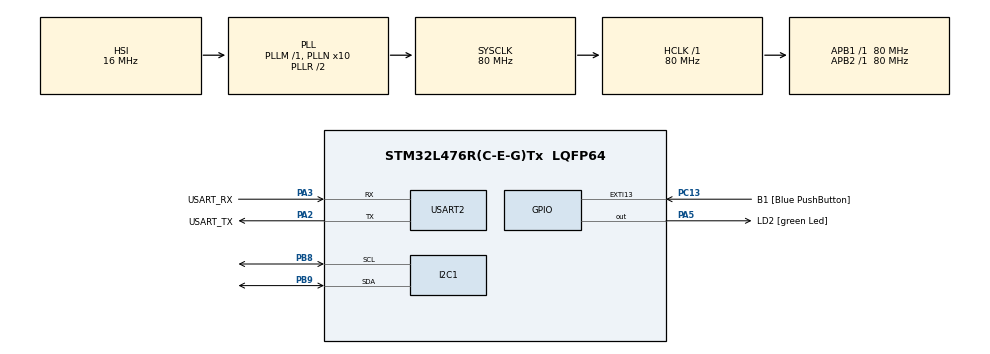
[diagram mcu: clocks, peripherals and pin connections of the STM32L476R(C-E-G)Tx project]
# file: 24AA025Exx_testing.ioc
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Mcu.Family=STM32L4
Mcu.Name=STM32L476R(C-E-G)Tx
Mcu.Package=LQFP64
NVIC.PriorityGroup=NVIC_PRIORITYGROUP_4
PA13\ (JTMS-SWDIO).GPIO_Label=TMS
PA13\ (JTMS-SWDIO).Mode=Serial_Wire
PA13\ (JTMS-SWDIO).Signal=SYS_JTMS-SWDIO
PA14\ (JTCK-SWCLK).GPIO_Label=TCK
PA14\ (JTCK-SWCLK).Mode=Serial_Wire
PA14\ (JTCK-SWCLK).Signal=SYS_JTCK-SWCLK
PA2.GPIO_Label=USART_TX
PA2.GPIO_Mode=GPIO_MODE_AF_PP
PA2.GPIO_PuPd=GPIO_NOPULL
PA2.GPIO_Speed=GPIO_SPEED_FREQ_VERY_HIGH
PA2.Mode=Asynchronous
PA2.Signal=USART2_TX
PA3.GPIO_Label=USART_RX
PA3.GPIO_Mode=GPIO_MODE_AF_PP
PA3.GPIO_PuPd=GPIO_NOPULL
PA3.GPIO_Speed=GPIO_SPEED_FREQ_VERY_HIGH
PA3.Mode=Asynchronous
PA3.Signal=USART2_RX
PA5.GPIO_Label=LD2 [green Led]
PA5.GPIO_ModeDefaultOutputPP=GPIO_MODE_OUTPUT_PP
PA5.GPIO_PuPd=GPIO_NOPULL
PA5.GPIO_Speed=GPIO_SPEED_FREQ_LOW
PA5.Signal=GPIO_Output
PB3\ (JTDO-TRACESWO).GPIO_Label=SWO
PB3\ (JTDO-TRACESWO).Signal=SYS_JTDO-SWO
PB8.Mode=I2C
PB8.Signal=I2C1_SCL
PB9.Mode=I2C
PB9.Signal=I2C1_SDA
PC13.GPIO_Label=B1 [Blue PushButton]
PC13.GPIO_ModeDefaultEXTI=GPIO_MODE_IT_FALLING
PC13.GPIO_PuPd=GPIO_NOPULL
PC13.Signal=GPXTI13
PC14-OSC32_IN\ (PC14).Mode=LSE-External-Oscillator
PC14-OSC32_IN\ (PC14).Signal=RCC_OSC32_IN
PC15-OSC32_OUT\ (PC15).Mode=LSE-External-Oscillator
PC15-OSC32_OUT\ (PC15).Signal=RCC_OSC32_OUT
PH0-OSC_IN\ (PH0).Signal=RCC_OSC_IN
PH1-OSC_OUT\ (PH1).Signal=RCC_OSC_OUT
ProjectManager.HeapSize=0x200
ProjectManager.StackSize=0x400
ProjectManager.TargetToolchain=SW4STM32
RCC.ADCFreq_Value=64000000
RCC.AHBFreq_Value=80000000
RCC.APB1Freq_Value=80000000
RCC.APB1TimFreq_Value=80000000
RCC.APB2Freq_Value=80000000
RCC.APB2TimFreq_Value=80000000
RCC.CortexFreq_Value=80000000
RCC.HCLKFreq_Value=80000000
RCC.HSE_VALUE=8000000
RCC.HSI_VALUE=16000000
RCC.MSI_VALUE=4000000
RCC.PLLN=10
RCC.PLLSourceVirtual=RCC_PLLSOURCE_HSI
RCC.PREFETCH_ENABLE=1
RCC.SYSCLKFreq_VALUE=80000000
RCC.SYSCLKSource=RCC_SYSCLKSOURCE_PLLCLK
RCC.USBFreq_Value=64000000
RCC.VCOOutputFreq_Value=160000000
USART2.VirtualMode-Asynchronous=VM_ASYNC
board=NUCLEO-L476RG

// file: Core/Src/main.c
/**
  ******************************************************************************
  * @file           : main.c
  * @brief          : Main program body
  ******************************************************************************
  ** This notice applies to any and all portions of this file
  * that are not between comment pairs USER CODE BEGIN and
  * USER CODE END. Other portions of this file, whether
  * inserted by the user or by software development tools
  * are owned by their respective copyright owners.
  *
  * COPYRIGHT(c) 2018 STMicroelectronics
  *
  * Redistribution and use in source and binary forms, with or without modification,
  * are permitted provided that the following conditions are met:
  *   1. Redistributions of source code must retain the above copyright notice,
  *      this list of conditions and the following disclaimer.
  *   2. Redistributions in binary form must reproduce the above copyright notice,
  *      this list of conditions and the following disclaimer in the documentation
  *      and/or other materials provided with the distribution.
  *   3. Neither the name of STMicroelectronics nor the names of its contributors
  *      may be used to endorse or promote products derived from this software
  *      without specific prior written permission.
  *
  * THIS SOFTWARE IS PROVIDED BY THE COPYRIGHT HOLDERS AND CONTRIBUTORS "AS IS"
  * AND ANY EXPRESS OR IMPLIED WARRANTIES, INCLUDING, BUT NOT LIMITED TO, THE
  * IMPLIED WARRANTIES OF MERCHANTABILITY AND FITNESS FOR A PARTICULAR PURPOSE ARE
  * DISCLAIMED. IN NO EVENT SHALL THE COPYRIGHT HOLDER OR CONTRIBUTORS BE LIABLE
  * FOR ANY DIRECT, INDIRECT, INCIDENTAL, SPECIAL, EXEMPLARY, OR CONSEQUENTIAL
  * DAMAGES (INCLUDING, BUT NOT LIMITED TO, PROCUREMENT OF SUBSTITUTE GOODS OR
  * SERVICES; LOSS OF USE, DATA, OR PROFITS; OR BUSINESS INTERRUPTION) HOWEVER
  * CAUSED AND ON ANY THEORY OF LIABILITY, WHETHER IN CONTRACT, STRICT LIABILITY,
  * OR TORT (INCLUDING NEGLIGENCE OR OTHERWISE) ARISING IN ANY WAY OUT OF THE USE
  * OF THIS SOFTWARE, EVEN IF ADVISED OF THE POSSIBILITY OF SUCH DAMAGE.
  *
  ******************************************************************************
  */
#include "main.h"
#include "stm32l4xx_hal.h"
#include "i2c.h"
#include "usart.h"
#include "gpio.h"

/* USER CODE BEGIN Includes */
#include "MAC_24AA02Exx_HAL.h"

/* USER CODE END Includes */

/* USER CODE BEGIN PV */
/* Private variables ---------------------------------------------------------*/

/* USER CODE END PV */

void SystemClock_Config(void);

/* USER CODE BEGIN PFP */
/* Private function prototypes -----------------------------------------------*/

/* USER CODE END PFP */

int main(void)
{

  /* MCU Configuration----------------------------------------------------------*/

  /* Reset of all peripherals, Initializes the Flash interface and the Systick. */
  HAL_Init();

  /* Configure the system clock */
  SystemClock_Config();

  /* Initialize all configured peripherals */
  MX_GPIO_Init();
  MX_USART2_UART_Init();
  MX_I2C1_Init();
  /* USER CODE BEGIN 2 */
  HAL_Delay(10);

  uint8_t MAC_addr[8] = {'\0'};
  bool isEUI48;
  if(get_MAC_address(&hi2c1, &isEUI48, MAC_addr)) {
	  if(isEUI48) {
		  // EUI-48
		  printf("EUI-48,");
		  for(int i = 0; i < (6-1); i++)
			  printf("%02X-", MAC_addr[i]);
		  printf("%02X\r\n", MAC_addr[6-1]);
	  } else {
		  // EUI-64
		  printf("EUI-64,");
		  for(int i = 0; i < (8-1); i++)
			  printf("%02X-", MAC_addr[i]);
		  printf("%02X\r\n", MAC_addr[8-1]);
	  }
  }
  else {
	  printf("get_MAC_address false\r\n");
  }

  /* USER CODE END 2 */

  /* Infinite loop */
  while (1)
  {

  }

}

void SystemClock_Config(void)
{

  RCC_OscInitTypeDef RCC_OscInitStruct;
  RCC_ClkInitTypeDef RCC_ClkInitStruct;
  RCC_PeriphCLKInitTypeDef PeriphClkInit;

    /**Initializes the CPU, AHB and APB busses clocks
    */
  RCC_OscInitStruct.OscillatorType = RCC_OSCILLATORTYPE_HSI;
  RCC_OscInitStruct.HSIState = RCC_HSI_ON;
  RCC_OscInitStruct.HSICalibrationValue = 16;
  RCC_OscInitStruct.PLL.PLLState = RCC_PLL_ON;
  RCC_OscInitStruct.PLL.PLLSource = RCC_PLLSOURCE_HSI;
  RCC_OscInitStruct.PLL.PLLM = 1;
  RCC_OscInitStruct.PLL.PLLN = 10;
  RCC_OscInitStruct.PLL.PLLP = RCC_PLLP_DIV7;
  RCC_OscInitStruct.PLL.PLLQ = RCC_PLLQ_DIV2;
  RCC_OscInitStruct.PLL.PLLR = RCC_PLLR_DIV2;
  if (HAL_RCC_OscConfig(&RCC_OscInitStruct) != HAL_OK)
  {
    _Error_Handler(__FILE__, __LINE__);
  }

    /**Initializes the CPU, AHB and APB busses clocks
    */
  RCC_ClkInitStruct.ClockType = RCC_CLOCKTYPE_HCLK|RCC_CLOCKTYPE_SYSCLK
                              |RCC_CLOCKTYPE_PCLK1|RCC_CLOCKTYPE_PCLK2;
  RCC_ClkInitStruct.SYSCLKSource = RCC_SYSCLKSOURCE_PLLCLK;
  RCC_ClkInitStruct.AHBCLKDivider = RCC_SYSCLK_DIV1;
  RCC_ClkInitStruct.APB1CLKDivider = RCC_HCLK_DIV1;
  RCC_ClkInitStruct.APB2CLKDivider = RCC_HCLK_DIV1;

  if (HAL_RCC_ClockConfig(&RCC_ClkInitStruct, FLASH_LATENCY_4) != HAL_OK)
  {
    _Error_Handler(__FILE__, __LINE__);
  }

  PeriphClkInit.PeriphClockSelection = RCC_PERIPHCLK_USART2|RCC_PERIPHCLK_I2C1;
  PeriphClkInit.Usart2ClockSelection = RCC_USART2CLKSOURCE_PCLK1;
  PeriphClkInit.I2c1ClockSelection = RCC_I2C1CLKSOURCE_PCLK1;
  if (HAL_RCCEx_PeriphCLKConfig(&PeriphClkInit) != HAL_OK)
  {
    _Error_Handler(__FILE__, __LINE__);
  }

    /**Configure the main internal regulator output voltage
    */
  if (HAL_PWREx_ControlVoltageScaling(PWR_REGULATOR_VOLTAGE_SCALE1) != HAL_OK)
  {
    _Error_Handler(__FILE__, __LINE__);
  }

    /**Configure the Systick interrupt time
    */
  HAL_SYSTICK_Config(HAL_RCC_GetHCLKFreq()/1000);

    /**Configure the Systick
    */
  HAL_SYSTICK_CLKSourceConfig(SYSTICK_CLKSOURCE_HCLK);

  /* SysTick_IRQn interrupt configuration */
  HAL_NVIC_SetPriority(SysTick_IRQn, 0, 0);
}

/* USER CODE BEGIN 4 */
int _write(int file, char *ptr, int len)
{
    HAL_UART_Transmit(&huart2, (uint8_t*) ptr, (uint16_t)len, 1000);
    return len;
}

/* USER CODE END 4 */

void _Error_Handler(char *file, int line)
{
  while(1)
  {
  }
}

/************************ (C) COPYRIGHT STMicroelectronics *****END OF FILE****/
